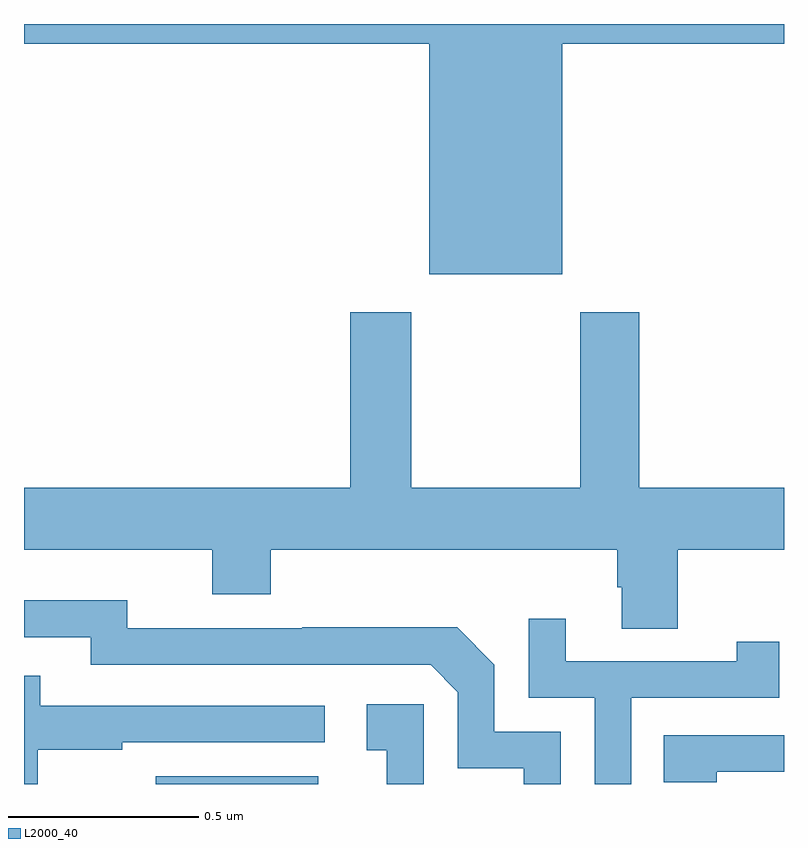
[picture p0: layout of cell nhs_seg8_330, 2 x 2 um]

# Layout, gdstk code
import gdstk
lib = gdstk.Library(unit=1e-6, precision=1e-09)
def R(c, l, rs):  # rectangles x0, y0, x1, y1
    for r in rs: c.add(gdstk.rectangle(r[:2], r[2:], *l))
def P(c, l, *ps):  # polygons
    for p in ps: c.add(gdstk.Polygon(p, *l))
L2000_40 = (2000, 40)

nhs_seg8_330 = lib.new_cell('nhs_seg8_330')
R(nhs_seg8_330, L2000_40, [(115.347,1099.9,115.774,1099.921)])
P(nhs_seg8_330, L2000_40, [(116.416,1101.848),(117,1101.848),(117,1101.9),(115,1101.9),(115,1101.848),(116.066,1101.848),(116.066,1101.242),(116.416,1101.242)],
  [(116.721,1100.516),(117,1100.516),(117,1100.68),(116.619,1100.68),(116.619,1101.142),(116.464,1101.142),(116.464,1100.68),(116.019,1100.68),(116.019,1101.142),(115.859,1101.142),(115.859,1100.68),(115,1100.68),(115,1100.516),(115.496,1100.516),(115.496,1100.399),(115.649,1100.399),(115.649,1100.516),(116.561,1100.516),(116.561,1100.418),(116.573,1100.418),(116.573,1100.308),(116.721,1100.308)],
  [(116.412,1100.037),(116.238,1100.037),(116.238,1100.214),(116.14,1100.312),(115.732,1100.312),(115.732,1100.31),(115.272,1100.31),(115.272,1100.383),(115,1100.383),(115,1100.286),(115.176,1100.286),(115.176,1100.214),(116.07,1100.214),(116.142,1100.142),(116.142,1099.941),(116.315,1099.941),(116.315,1099.9),(116.412,1099.9)],
  [(116.598,1100.127),(116.987,1100.127),(116.987,1100.275),(116.876,1100.275),(116.876,1100.223),(116.425,1100.223),(116.425,1100.335),(116.328,1100.335),(116.328,1100.127),(116.502,1100.127),(116.502,1099.9),(116.598,1099.9)],
  [(115.036,1099.99),(115.259,1099.99),(115.259,1100.01),(115.792,1100.01),(115.792,1100.106),(115.043,1100.106),(115.043,1100.185),(115,1100.185),(115,1099.9),(115.036,1099.9)],
  [(116.052,1100.11),(115.902,1100.11),(115.902,1099.989),(115.955,1099.989),(115.955,1099.9),(116.052,1099.9)],
  [(116.823,1099.932),(117,1099.932),(117,1100.028),(116.683,1100.028),(116.683,1099.905),(116.823,1099.905)])

lib.write_gds('nhs_seg8_330.gds')
